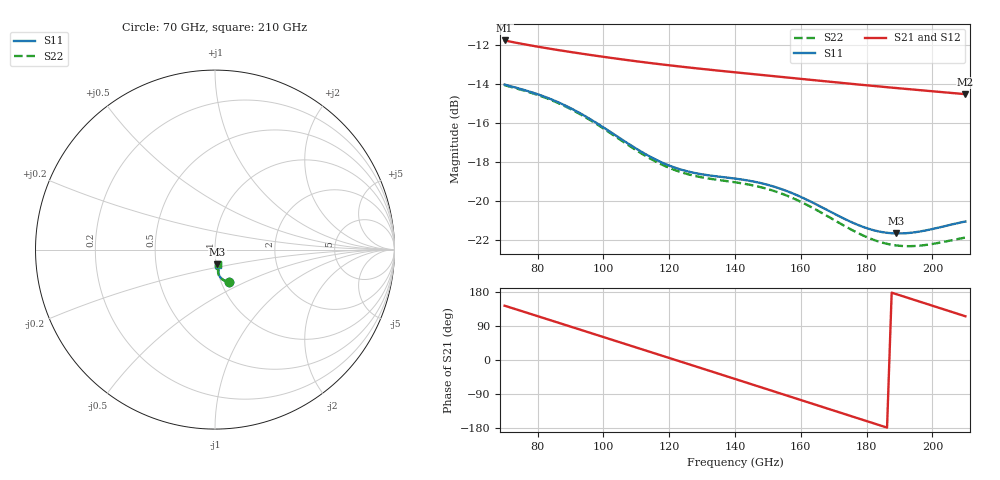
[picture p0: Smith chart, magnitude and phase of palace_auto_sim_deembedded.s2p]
! Created with skrf 1.11.0 (http://scikit-rf.org).
# GHz S DB R 50.0
!freq dBS11 angS11 dBS21 angS21 dBS12 angS12 dBS22 angS22
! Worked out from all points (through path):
!   101 points, 70 GHz to 210 GHz, reference 50 ohm
!   highest |S21| = -11.77 dB at 70 GHz (marker M1); lowest = -14.5 dB at 210 GHz (marker M2)
!   group delay of S21, straight-line fit = 7.7 ps
!   lowest |S11| = -21.7 dB at 189 GHz (marker M3), VSWR 1.18, Z = 50.6 - j8.3 ohm
!   |S11| at or under -10 dB: start of sweep to end of sweep
!   |S22| runs from -22.3 to -14.1 dB; largest |S21 - S12| = 4.2e-14
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70  -14.04 -66.1  -11.77 143.3  -11.77 143.3  -14.07 -66.5
77  -14.37 -68.8  -12.00 124.1  -12.00 124.1  -14.40 -69.2
82.6  -14.69 -71.5  -12.16 108.7  -12.16 108.7  -14.73 -71.9
88.2  -15.10 -74.4  -12.32 93.2  -12.32 93.2  -15.14 -74.9
93.8  -15.59 -77.1  -12.46 77.8  -12.46 77.8  -15.64 -77.7
99.4  -16.17 -79.3  -12.60 62.3  -12.60 62.3  -16.23 -80.0
106.4  -16.94 -81.0  -12.76 42.9  -12.76 42.9  -17.01 -81.8
112  -17.53 -81.4  -12.88 27.5  -12.88 27.5  -17.62 -82.3
117.6  -18.02 -81.0  -13.00 12.0  -13.00 12.0  -18.13 -82.1
123.2  -18.38 -80.4  -13.11 -3.5  -13.11 -3.5  -18.51 -81.5
128.8  -18.61 -79.9  -13.21 -19.0  -13.21 -19.0  -18.76 -81.0
140  -18.86 -80.6  -13.41 -50.0  -13.41 -50.0  -19.05 -81.9
147  -19.06 -82.3  -13.53 -69.5  -13.53 -69.5  -19.27 -83.7
152.6  -19.32 -84.0  -13.62 -85.0  -13.62 -85.0  -19.54 -85.5
158.2  -19.67 -85.5  -13.71 -100.6  -13.71 -100.6  -19.92 -87.2
163.8  -20.11 -86.6  -13.81 -116.2  -13.81 -116.2  -20.39 -88.4
176.4  -21.17 -85.6  -14.02 -151.2  -14.02 -151.2  -21.58 -88.0
182  -21.51 -83.7  -14.11 -166.7  -14.11 -166.7  -22.00 -86.2
187.6  -21.67 -81.4  -14.19 177.7  -14.19 177.7  -22.26 -83.8
189  -21.68 -80.8  -14.22 173.8  -14.22 173.8  -22.30 -83.2
198.8  -21.50 -77.9  -14.36 146.6  -14.36 146.6  -22.25 -79.5
210  -21.07 -77.8  -14.53 115.4  -14.53 115.4  -21.89 -78.4
